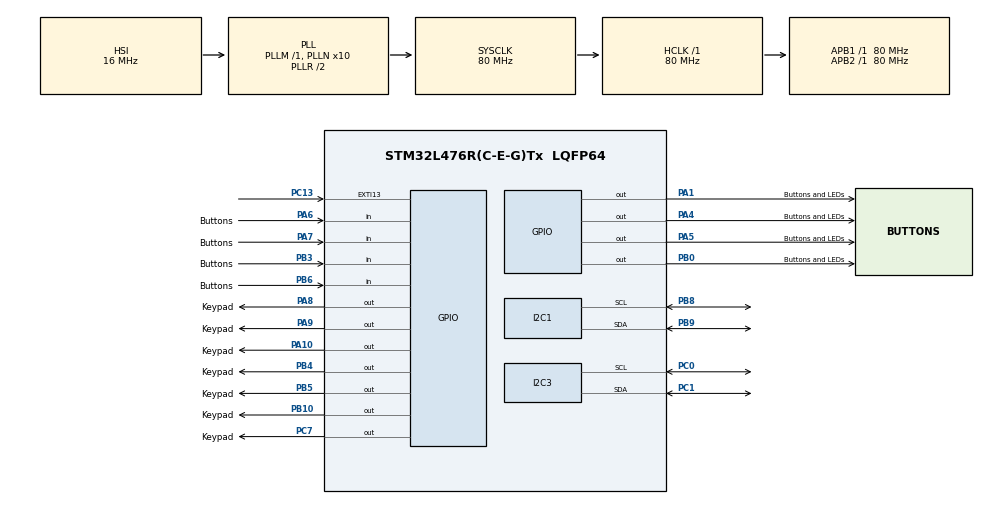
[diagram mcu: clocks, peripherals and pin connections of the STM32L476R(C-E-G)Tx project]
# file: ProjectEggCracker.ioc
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I2C1.Timing=0x10D19CE4
I2C3.Timing=0x10D19CE4
Mcu.Family=STM32L4
Mcu.Name=STM32L476R(C-E-G)Tx
Mcu.Package=LQFP64
NUCLEO-L476RG.BUTTON=1
NUCLEO-L476RG.LD2=true
NVIC.EXTI15_10_IRQn=true\:0\:0\:false\:false\:true\:false\:true\:true
NVIC.PriorityGroup=NVIC_PRIORITYGROUP_4
PA1.GPIO_Label=Buttons and LEDs
PA1.GPIO_ModeDefaultOutputPP=GPIO_MODE_OUTPUT_PP
PA1.GPIO_PuPd=GPIO_NOPULL
PA1.GPIO_Speed=GPIO_SPEED_FREQ_LOW
PA1.PinState=GPIO_PIN_RESET
PA1.Signal=GPIO_Output
PA10.GPIO_Label=Keypad
PA10.GPIO_ModeDefaultOutputPP=GPIO_MODE_OUTPUT_OD
PA10.GPIO_PuPd=GPIO_PULLUP
PA10.GPIO_Speed=GPIO_SPEED_FREQ_LOW
PA10.PinState=GPIO_PIN_SET
PA10.Signal=GPIO_Output
PA13\ (JTMS-SWDIO).GPIO_Label=TMS
PA13\ (JTMS-SWDIO).Mode=Serial_Wire
PA13\ (JTMS-SWDIO).Signal=SYS_JTMS-SWDIO
PA14\ (JTCK-SWCLK).GPIO_Label=TCK
PA14\ (JTCK-SWCLK).Mode=Serial_Wire
PA14\ (JTCK-SWCLK).Signal=SYS_JTCK-SWCLK
PA2.GPIO_Label=USART_TX
PA2.GPIO_Mode=GPIO_MODE_AF_PP
PA2.GPIO_PuPd=GPIO_NOPULL
PA2.GPIO_Speed=GPIO_SPEED_FREQ_VERY_HIGH
PA2.Signal=USART2_TX
PA3.GPIO_Label=USART_RX
PA3.GPIO_Mode=GPIO_MODE_AF_PP
PA3.GPIO_PuPd=GPIO_NOPULL
PA3.GPIO_Speed=GPIO_SPEED_FREQ_VERY_HIGH
PA3.Signal=USART2_RX
PA4.GPIO_Label=Buttons and LEDs
PA4.GPIO_ModeDefaultOutputPP=GPIO_MODE_OUTPUT_PP
PA4.GPIO_PuPd=GPIO_NOPULL
PA4.GPIO_Speed=GPIO_SPEED_FREQ_LOW
PA4.PinState=GPIO_PIN_RESET
PA4.Signal=GPIO_Output
PA5.GPIO_Label=Buttons and LEDs
PA5.GPIO_ModeDefaultOutputPP=GPIO_MODE_OUTPUT_PP
PA5.GPIO_PuPd=GPIO_NOPULL
PA5.GPIO_Speed=GPIO_SPEED_FREQ_LOW
PA5.PinState=GPIO_PIN_RESET
PA5.Signal=GPIO_Output
PA6.GPIO_Label=Buttons
PA6.GPIO_PuPd=GPIO_NOPULL
PA6.Signal=GPIO_Input
PA7.GPIO_Label=Buttons
PA7.GPIO_PuPd=GPIO_NOPULL
PA7.Signal=GPIO_Input
PA8.GPIO_Label=Keypad
PA8.GPIO_ModeDefaultOutputPP=GPIO_MODE_OUTPUT_OD
PA8.GPIO_PuPd=GPIO_PULLUP
PA8.GPIO_Speed=GPIO_SPEED_FREQ_LOW
PA8.PinState=GPIO_PIN_SET
PA8.Signal=GPIO_Output
PA9.GPIO_Label=Keypad
PA9.GPIO_ModeDefaultOutputPP=GPIO_MODE_OUTPUT_OD
PA9.GPIO_PuPd=GPIO_PULLUP
PA9.GPIO_Speed=GPIO_SPEED_FREQ_LOW
PA9.PinState=GPIO_PIN_SET
PA9.Signal=GPIO_Output
PB0.GPIO_Label=Buttons and LEDs
PB0.GPIO_ModeDefaultOutputPP=GPIO_MODE_OUTPUT_PP
PB0.GPIO_PuPd=GPIO_NOPULL
PB0.GPIO_Speed=GPIO_SPEED_FREQ_LOW
PB0.PinState=GPIO_PIN_RESET
PB0.Signal=GPIO_Output
PB10.GPIO_Label=Keypad
PB10.GPIO_ModeDefaultOutputPP=GPIO_MODE_OUTPUT_OD
PB10.GPIO_PuPd=GPIO_PULLUP
PB10.GPIO_Speed=GPIO_SPEED_FREQ_LOW
PB10.PinState=GPIO_PIN_SET
PB10.Signal=GPIO_Output
PB3\ (JTDO-TRACESWO).GPIO_Label=Buttons
PB3\ (JTDO-TRACESWO).GPIO_PuPd=GPIO_NOPULL
PB3\ (JTDO-TRACESWO).Signal=GPIO_Input
PB4\ (NJTRST).GPIO_Label=Keypad
PB4\ (NJTRST).GPIO_ModeDefaultOutputPP=GPIO_MODE_OUTPUT_OD
PB4\ (NJTRST).GPIO_PuPd=GPIO_PULLUP
PB4\ (NJTRST).GPIO_Speed=GPIO_SPEED_FREQ_LOW
PB4\ (NJTRST).PinState=GPIO_PIN_SET
PB4\ (NJTRST).Signal=GPIO_Output
PB5.GPIO_Label=Keypad
PB5.GPIO_ModeDefaultOutputPP=GPIO_MODE_OUTPUT_OD
PB5.GPIO_PuPd=GPIO_PULLUP
PB5.GPIO_Speed=GPIO_SPEED_FREQ_LOW
PB5.PinState=GPIO_PIN_SET
PB5.Signal=GPIO_Output
PB6.GPIO_Label=Buttons
PB6.GPIO_PuPd=GPIO_NOPULL
PB6.Signal=GPIO_Input
PB8.Mode=I2C
PB8.Signal=I2C1_SCL
PB9.Mode=I2C
PB9.Signal=I2C1_SDA
PC0.Mode=I2C
PC0.Signal=I2C3_SCL
PC1.Mode=I2C
PC1.Signal=I2C3_SDA
PC13.Signal=GPXTI13
PC14-OSC32_IN\ (PC14).Signal=RCC_OSC32_IN
PC15-OSC32_OUT\ (PC15).Signal=RCC_OSC32_OUT
PC7.GPIO_Label=Keypad
PC7.GPIO_ModeDefaultOutputPP=GPIO_MODE_OUTPUT_OD
PC7.GPIO_PuPd=GPIO_PULLUP
PC7.GPIO_Speed=GPIO_SPEED_FREQ_LOW
PC7.PinState=GPIO_PIN_SET
PC7.Signal=GPIO_Output
PH0-OSC_IN\ (PH0).Signal=RCC_OSC_IN
PH1-OSC_OUT\ (PH1).Signal=RCC_OSC_OUT
ProjectManager.HeapSize=0x200
ProjectManager.StackSize=0x400
ProjectManager.TargetToolchain=STM32CubeIDE
RCC.ADCFreq_Value=64000000
RCC.AHBFreq_Value=80000000
RCC.APB1Freq_Value=80000000
RCC.APB1TimFreq_Value=80000000
RCC.APB2Freq_Value=80000000
RCC.APB2TimFreq_Value=80000000
RCC.CortexFreq_Value=80000000
RCC.HCLKFreq_Value=80000000
RCC.HSE_VALUE=8000000
RCC.HSI_VALUE=16000000
RCC.LSE_VALUE=32768
RCC.MSI_VALUE=4000000
RCC.PLLN=10
RCC.PLLSourceVirtual=RCC_PLLSOURCE_HSI
RCC.PREFETCH_ENABLE=1
RCC.SYSCLKFreq_VALUE=80000000
RCC.SYSCLKSource=RCC_SYSCLKSOURCE_PLLCLK
RCC.USBFreq_Value=64000000
RCC.VCOOutputFreq_Value=160000000
VP_NUCLEO-L476RG_VS_BSP_COMMON.Mode=COMMON
board=NUCLEO-L476RG

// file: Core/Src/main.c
/* USER CODE BEGIN Header */
/**
  ******************************************************************************
  * @file           : main.c
  * @brief          : Main program body
  ******************************************************************************
  * @attention
  *
  * Copyright (c) 2026 STMicroelectronics.
  * All rights reserved.
  *
  * This software is licensed under terms that can be found in the LICENSE file
  * in the root directory of this software component.
  * If no LICENSE file comes with this software, it is provided AS-IS.
  *
  ******************************************************************************
  */
/* USER CODE END Header */
#include "main.h"
#include "i2c.h"
#include "gpio.h"

/* USER CODE BEGIN Includes */
#include "LCD1602_I2C.h"
#include "oximeter.h"
#include "keypad.h"
#include "panel.h"
#include <stdio.h>
#include <string.h>
/* USER CODE END Includes */

/* USER CODE BEGIN PD */
/* ---- Sampling and stability parameters; tune them here only ---- */
#define POLL_MS 	 250u /* Polling period. The module refreshes its
 	 	 	 	 	 	   * data every 4 s, so reading faster just
 	 	 	 	 	 	   * re-reads the same value - harmless, and it
 	 	 	 	 	 	   * notices a finger within 0.25 s */
#define HIST_N 			5 /* history length used for the stability test */
#define HR_SPREAD_MAX  12 /* spread over 5 readings above which the
 	 	 	 	 	 	   * value is considered not settled yet (bpm) */
#define LOST_GRACE 	   12 /* invalid ticks before the finger counts as
 	 	 	 	 	       * removed (250 ms x 12 = 3 s) */

/* ---- Power-on PIN ---- */
#define PASSWORD   "1234" /* change the PIN on this line only */
#define PIN_LEN 		4 /* must match the length of PASSWORD */
#define PIN_SCAN_MS 	8u /* keypad polling; debouncing lives in keypad.c */
#define PIN_WRONG_HOLD 1500u /* how long the "wrong PIN" message stays */
/* USER CODE END PD */

void SystemClock_Config(void);

/* USER CODE BEGIN 0 */
/* Pad a line out to 16 characters.
 * The LCD never clears itself: after "HR 100" a shorter "HR 72" would leave
 * the stray 0 on screen. Padding beats calling lcd_clear() every time, which
 * produces a visible flicker. */
static void pad16(char *s) {
	size_t n = strlen(s);
	while (n < 16u) {
		s[n++] = ' ';
	}
	s[16] = '\0';
}
/* ==========================================================================
 * Stability filtering
 *
 * A single reading cannot be trusted. Just after a finger is placed, or with
 * the wrong contact pressure, or on a weak signal, the module's algorithm
 * counts the dicrotic notch of the pulse waveform as a second beat and
 * reports exactly twice the true rate - 70 shows up as 140. This is the
 * classic PPG doubling artefact.
 *
 * A range check cannot catch it: 140 is perfectly physiological. What does
 * catch it is agreement between consecutive readings - the artefact comes
 * and goes, while a real heart rate settles into a narrow band.
 * ========================================================================== */
typedef struct {
	int32_t buf[HIST_N];
	uint8_t cnt; /* how many samples are filled in */
	uint8_t idx; /* ring buffer write index */
} Hist;
static Hist s_hr_hist;
static int32_t s_hr_shown = -1; /* heart rate on display, -1 = none yet */
static int32_t s_spo2_shown = -1; /* likewise for SpO2 */
static uint16_t s_lost = 0; /* consecutive invalid readings */
static void hist_reset(Hist *h) {
	h->cnt = 0;
	h->idx = 0;
}
static void hist_push(Hist *h, int32_t v) {
	h->buf[h->idx] = v;
	h->idx = (uint8_t) ((h->idx + 1u) % HIST_N);
	if (h->cnt < HIST_N) {
		h->cnt++;
	}
}
/* Full history and spread within the limit -> return the median,
 * otherwise -1 meaning "not settled yet". */
static int32_t hist_stable(const Hist *h, int32_t spread_max) {
	int32_t t[HIST_N];
	uint8_t i, j;
	if (h->cnt < HIST_N) {
		return -1;
	}
	for (i = 0; i < HIST_N; i++) {
		t[i] = h->buf[i];
	}
	for (i = 1; i < HIST_N; i++) { /* insertion sort, N=5 */
		int32_t k = t[i];
		j = i;
		while (j > 0u && t[j - 1] > k) {
			t[j] = t[j - 1];
			j--;
		}
		t[j] = k;
	}
	if ((t[HIST_N - 1] - t[0]) > spread_max) {
		return -1;
	}
	return t[HIST_N / 2]; /* median */
}
/* Display state. Three of them, not two:
 * ST_NO_FINGER nothing readable -> ask for a finger
 * ST_MEASURING data but unsettled -> ask the user to hold still; this is
 * where a 140 artefact gets held back
 * ST_SHOW settled -> show the numbers
 */
typedef enum {
	ST_NO_FINGER, ST_MEASURING, ST_SHOW
} DispState;
static DispState hr_step(int32_t raw_hr, int32_t raw_spo2) {
	if (raw_hr <= 0) {
		s_lost++;
		if (s_lost > LOST_GRACE) { /* the finger really is gone */
			hist_reset(&s_hr_hist);
			s_hr_shown = -1;
			s_spo2_shown = -1;
			return ST_NO_FINGER;
		}
		/* Inside the grace period keep the previous reading on screen so
		 * the display does not flip back and forth. */
		if (s_hr_shown > 0) {
			return ST_SHOW;
		}
		if (s_hr_hist.cnt > 0) {
			return ST_MEASURING;
		}
		return ST_NO_FINGER; /* never read anything at all */
	}
	s_lost = 0;
	hist_push(&s_hr_hist, raw_hr);
	{
		int32_t v = hist_stable(&s_hr_hist, HR_SPREAD_MAX);
		if (v > 0) {
			s_hr_shown = v;
			if (raw_spo2 > 0) {
				s_spo2_shown = raw_spo2;
			}
			return ST_SHOW;
		}
	}
	if (s_hr_shown > 0) {
		return ST_SHOW;
	} /* settled already, one bad tick */
	return ST_MEASURING;
}
/* Lay out the two display lines, each exactly 16 characters */
static void build_lines(DispState st, uint8_t comm_ok, float temp, uint8_t spin,
		char *l1, char *l2) {
	static const char *dots[4] = { " ", ". ", ".. ", "..." };
	if (!comm_ok) {
		strcpy(l1, "Sensor offline");
		strcpy(l2, "Check wiring");
	} else if (st == ST_NO_FINGER) {
		snprintf(l1, 17, "Place finger%s", dots[spin & 3u]);
		snprintf(l2, 17, "Board %4.1f degC", (double) temp);
	} else if (st == ST_MEASURING) {
		snprintf(l1, 17, "Measuring%s", dots[spin & 3u]);
		strcpy(l2, "Hold still");
	} else {
		/* SP/HR OUTPUTS BE HERE */
		int sp =
				(s_spo2_shown > 0 && s_spo2_shown <= 100) ?
						(int) s_spo2_shown : 0;
		int hr = (s_hr_shown > 0 && s_hr_shown <= 999) ? (int) s_hr_shown : 0;
		snprintf(l1, 17, "SpO2%3d%% HR%3d", sp, hr);
		snprintf(l2, 17, "Temp %4.1f degC", (double) temp);
	}
	pad16(l1);
	pad16(l2);
}

/*~~~~~~~~~~~~~~~~~~~~~~~~~~~~~~~~~~~~~~~~~~~~~~~~~~~~~~~~~~~~~~~~~~~~~~~~~~~~~~~~~~~~~
~~~~~~~~~~~~~~~~~~~~~~~~~~~~~~~~~~~~~~~~~~~~~~~~~~~~~~~~~~~~~~~~~~~~~~~~~~~~~~~~~~~~~~~*/
// ENUM ZONE ENUM ZONE ENUM ZONE ENUM ZONE //
/* App display modes enum, real*/
typedef enum {
		//APP_WAIT_START,
		APP_NO_FINGER_WARNING,
		APP_MONITORING,
		APP_ALERT,
		APP_MENU,
		APP_STAT,
		APP_PATIENT_INFO,
		APP_ADDRESS,
		APP_CPR
	} AppState;

/* Event flag enum*/
typedef enum {
	    EVENT_NONE = 0u,
	    EVENT_IRREGULAR = 1u << 0u,
		EVENT_MANUAL = 1u << 1u
	} EventFlags;

/* CPR phase enum*/
typedef enum {
	CPR_COMPRESS,
	CPR_RELAX,
	CPR_BREATHE,
} CPRPhase;

// VARIABLE ZONE VARIABLE ZONE VARIABLE ZONE VARIABLE ZONE //
static uint32_t cpr_phase_start_ms = 0;
static CPRPhase cpr_phase = CPR_COMPRESS;
static uint8_t cpr_screen_index = 0;
static uint32_t cpr_screen_switch_ms = 0;
static uint8_t cpr_breath_screen_active = 0;
static uint8_t cpr_compressions_since_breath = 0u;

static const char *cpr_screen_text[6] = {
	"COMPRESS IN TIME"
	"WITH LIGHTS",
	"CALL 000 IF CPR",
	"NEEDED",
	"PRESS # TO GO",
	"BACK"
};
static const char cpr_breath_screen_text1[17] = "BREATHE 2 RESCUE";
static const char cpr_breath_screen_text2[17] = "BREATHS         ";
static const char monitor_line_1[17] = "All Clear       ";
static const char monitor_line_2[17] = "System Idle...  ";
static const char warning_line_1[17] = "No Finger Found ";
static const char warning_line_2[17] = "Place on Finger ";
static const char menu_line_1[17] = "1.STAT 2.P.INFO ";
static const char menu_line_2[17] = "3.ADDR 4.CPR    ";
static const char patient_name[17] = "Stanley Leichter";
static const char patient_age[17] = "         AGE: 68";
static const char address_line_1[17] = "Bldg 420, 3 Kent";
static const char address_line_2[17] = "St, Bentley     "
static uint32_t time_at_last_readms = 0;
static const uint32_t OXIMETER_POLL_DELAYms = 10;
static char prev1[17] = "                ";
static char prev2[17] = "                ";
static const char alert_line_1[17] = "EMERGENCY! ENTER";
static const char alert_line_2[17] = "AND ASSIST!     ";
static uint8_t stat_message_index = 0;
static const char stat_manual[17] = "MANUAL ACTIVATED";
static const char stat_heart[17] = "PULSE UNUSUAL   ";

/*~~~~~~~~~~~~~~~~~~~~~~~~~~~~~~~~~~~~~~~~~~~~~~~~~~~~~~~~~~~~~~~~~~~~~~~~~~~~~~~~~~~~~
~~~~~~~~~~~~~~~~~~~~~~~~~~~~~~~~~~~~~~~~~~~~~~~~~~~~~~~~~~~~~~~~~~~~~~~~~~~~~~~~~~~~~~~*/

/* ==========================================================================
 * Power-on PIN
 *
 * Blocking by design: nothing proceeds until the PIN is accepted, so a plain
 * loop is enough and no state machine is needed. It runs once per power-up;
 * after that the main loop never touches the keypad again.
 * ========================================================================== */

/*~~~~~~~~~~~~~~~~~~~~~~~~~~~~~~~~~~~~~~~~~~~~~~~~~~~~~~~~~~~~~~~~~~~~~~~~~~~~~~~~~~~~~
~~~~~~~~~~~~~~~~~~~~~~~~~~~~~~~~~~~~~~~~~~~~~~~~~~~~~~~~~~~~~~~~~~~~~~~~~~~~~~~~~~~~~~~*/
// THE FUNCTIONS FUNCTION THE FUNCTIONS FUNCTION //
static void wait_for_start(void) {
	for (;;) {
		char key = Keypad_Scan();
		if (key == '1') {
		return;
		}

		HAL_Delay(PIN_SCAN_MS);
	}
}

static bool time_to_read_oximeter(uint32_t now_time) {
	if (now_time - time_at_last_readms == OXIMETER_POLL_DELAYms) {
		time_at_last_readms = now_time;
		return true;
	}
	else {
		return false;
	}
}

static bool accident_detected(OxiReading reading) {
	if (reading.heartbeat > 100 || reading.heartbeat < 55) {
		event_flags |= EVENT_IRREGULAR;
	}
	return (event_flags != EVENT_NONE);
}

static void clear_event_codes(void) {
	event_flags = EVENT_NONE;
}

static void cpr_leds(uint8_t on) {
	Panel_SetLed(2, on);
	Panel_SetLed(3, on);
}

static void stat_builder(char *l1) {
	int sp02 = (s_spo2_show > 0 && s_spo2_shown <= 100) ?
				(int) s_spo2_shown : 0;
	int hr = (s_hr_shown > 0 && s_hr_shown <= 999) ? (int) s_hr_shown : 0;
	snprintf(l1, 17, "SpO2%3d%% HR%3d", sp02, hr);
	pad16(l1);
}
/*~~~~~~~~~~~~~~~~~~~~~~~~~~~~~~~~~~~~~~~~~~~~~~~~~~~~~~~~~~~~~~~~~~~~~~~~~~~~~~~~~~~~~
~~~~~~~~~~~~~~~~~~~~~~~~~~~~~~~~~~~~~~~~~~~~~~~~~~~~~~~~~~~~~~~~~~~~~~~~~~~~~~~~~~~~~~~*/

/*~~~~~~~~~~~~~~~~~~~~~~~~~~~~~~~~~~~~~~~~~~~~~~~~~~~~~~~~~~~~~~~~~~~~~~~~~~~~~~~~~~~~~
~~~~~~~~~~~~~~~~~~~~~~~~~~~~~~~~~~~~~~~~~~~~~~~~~~~~~~~~~~~~~~~~~~~~~~~~~~~~~~~~~~~~~~~*/
/* Functions for menu states, each shows information relating
* to the patient to help with their care such as their address
* their current heart rate and SpO2 and so on */
// SHOW ZONE SHOW ZONE SHOW ZONE SHOW ZONE SHOW ZONE //

static void printer_l1(char[16] fresh_line) {
	if (strncmp(prev1, fresh_line, 16) != 0) {
		lcd_put_cur(0, 0);
		lcd_send_string(fresh_line);
		strncpy(prev1, fresh_line, sizeof(prev1));
	}
}

static void printer_l2(char fresh_line) {
	if (strncmp(prev2, fresh_line, 16) != 0) {
		lcd_put_cur(1, 0);
		lcd_send_string(fresh_line);
		strncpy(prev2, fresh_line, sizeof(prev2));
	}
}

static void show_monitor(void) {
	// show monitor code
	printer_l1(monitor_line_1);
	printer_l2(monitor_line_2);

}

static void show_alert(void) {
	// show alert screen code
	printer_l1(alert_line_1);
	printer_l2(alert_line_2);
}

static void show_no_finger_warning(void) {
	// show no finger warning code
	printer_l1(warning_line_1);
	printer_l2(warning_line_2);
}

static void show_menu(void) {
	// show menu code
	printer_l1(menu_line_1);
	printer_l2(menu_line_2);
}

static void show_stat(char *line2, char *line2) {
	// show stat code
	stat_builder(line1);
	printer_l1(line1);
	printer_l2(line2);
}

static void show_patient_info(void) {
	// show patient info code
	printer_l1(patient_name); //Goddamn loser
	printer_l2(patient_age);
}

static void show_address(void) {
	// show address code
	// attempting to code it better
	// for loop logic worked in an external editor
	printer_l1(address_line_1);
	printer_l2(address_line_2);
}

static void show_cpr(void) {
	// show cpr code
	// Needs to change screen and flash LEDs
	// jagged array containing all three screens of text for the cpr mode
	uint32_t now_time = HAL_GetTick();

	if (cpr_breath_screen_active) {
		lcd_clear();
		lcd_put_cur(0, 0);
		lcd_send_string(cpr_breath_screen_text1);
		lcd_put_cur(1, 0);
		lcd_send_string(cpr_breath_screen_text2);
		return;
	}

	if (HAL_GetTick() - cpr_screen_switch_ms >= 4000u) {
		cpr_screen_switch_ms = HAL_GetTick();
		cpr_screen_index = (cpr_screen_index + 2u) % 6u;
	}
	// char cpr_line_1[17];
	// char cpr_line_2[17];
	// //set the lines to be printed to the lcd
	// for(int j = 0; j<16; j++){
	// 	cpr_line_1[j]=cpr_screen_text[cpr_screen_index][j];
	// 	cpr_line_2[j]=cpr_screen_text[cpr_screen_index+1][j+16];
	// }
	lcd_clear();
	lcd_put_cur(0, 0);
	lcd_send_string(cpr_screen_text[cpr_screen_index]);
	lcd_put_cur(1, 0);
	lcd_send_string(cpr_screen_text[cpr_screen_index+1]);
}
/*~~~~~~~~~~~~~~~~~~~~~~~~~~~~~~~~~~~~~~~~~~~~~~~~~~~~~~~~~~~~~~~~~~~~~~~~~~~~~~~~~~~~~
~~~~~~~~~~~~~~~~~~~~~~~~~~~~~~~~~~~~~~~~~~~~~~~~~~~~~~~~~~~~~~~~~~~~~~~~~~~~~~~~~~~~~~~*/

/* USER CODE END 0 */

int main(void)
{

  /* MCU Configuration--------------------------------------------------------*/

  /* Reset of all peripherals, Initializes the Flash interface and the Systick. */
  HAL_Init();

  /* Configure the system clock */
  SystemClock_Config();

  /* Initialize all configured peripherals */
  MX_GPIO_Init();
  MX_I2C1_Init();
  MX_I2C3_Init();
  /* USER CODE BEGIN 2 */
	/* --- LCD on I2C1 --- */
	lcd_init(&hi2c1);
	lcd_put_cur(0, 0);
	lcd_send_string("BOOT SYSTEM?    ");
	lcd_put_cur(1, 0);
	lcd_send_string("1. YES          ");
	/* --- Keypad: the PIN gate comes first ---
	 * Placed before the sensor is started, so nothing is acquired until the
	 * PIN is accepted and the sensor LEDs stay dark while unauthorised. */
	Keypad_Init();
	Panel_Init(); /* all four LEDs off; buttons live from power-up */
	/* Initial state of the four LEDs at power-up. Change a 0 to a 1 to have
	 * that LED lit from the start; Panel_SetLed(0, 1) lights LED0 so the first
	 * press of BUTTON0 turns it off.
	 * Always go through Panel_SetLed() rather than the CubeMX initial level: it
	 * updates both the pin and the internal s_leds bit, and once those two
	 * disagree the first press toggles the wrong way. */
	Panel_SetLed(0, 0);
	Panel_SetLed(1, 0);
	Panel_SetLed(2, 0);
	Panel_SetLed(3, 0);
	wait_for_start();
	lcd_put_cur(0, 0);
	lcd_send_string("BOOTING...      ");
	lcd_put_cur(1, 0);
	lcd_send_string("                ");
	HAL_Delay(1000);
	lcd_put_cur(0, 0);
	lcd_send_string("SYSTEM IDLE     ");
	lcd_put_cur(1, 0);
	lcd_send_string("ALL CLEAR       ");
	show_monitor();
	HAL_Delay(4000);

	/* --- Heart rate sensor on I2C3 --- */
	{
		uint8_t addr = Oxi_ScanBus(&hi2c3); /* break here; expect 0xAE */
		(void) addr;
	}
	Oxi_Start(&hi2c3); /* the module only measures after this command */
	hist_reset(&s_hr_hist);
	HAL_Delay(1000);
	AppState app_state = APP_MONITORING;
  /* USER CODE END 2 */

  /* Initialize leds */
  BSP_LED_Init(LED_GREEN);

  /* Initialize USER push-button, will be used to trigger an interrupt each time it's pressed.*/
  BSP_PB_Init(BUTTON_USER, BUTTON_MODE_EXTI);

  /* Infinite loop */
  /* USER CODE BEGIN WHILE */
//   OxiReading rd;    //Don't think we need this
  char statline1[17] = "";
//   char prev1[17] = "", prev2[17] = "";

 while (1)
 {

   /* USER CODE END WHILE */

   /* USER CODE BEGIN 3 */
	char key = Keypad_Scan();
	Panel_Task();

	if ((HAL_GPIO_ReadPin(BTN_PORT[0], BTN_MASK[0]) == GPIO_PIN_RESET) && app_state == APP_MONITORING) {
		event_flags |= EVENT_MANUAL;
	}

// MAIN CASE MAIN CASE MAIN CASE MAIN CASE //
	switch (app_state) {

	case APP_MONITORING:
		// Handle monitoring state
		uint32_t now_time = HAL_GetTick()
		if (event_flags != EVENT_NONE) {
			app_state = APP_MENU;
			show_alert();
			break;
		}
		if (time_to_read_oximeter()) {
			OxiReading reading;

			if (Oxi_Read(&reading) == HAL_OK) {
				accident_detected(reading);

				// Handle read error
			}
			else {
				app_state = APP_NO_FINGER_WARNING;
			}
		}
		show_monitor();
		break;

	case APP_NO_FINGER_WARNING:
		// Handle no finger warning state

		show_no_finger_warning();
		AppsState = APP_MONITORING;
		break;

		case APP_ALERT:
		// Handle alert state
		update_alert_display();
		update_alert_leds();
		handle_alert_key(key);
		break;

	case APP_MENU:
		// Handle menu state
		if (Keypad_Scan() == "1") app_state = APP_STAT;
		else if (Keypad_Scan() == "2") app_state = APP_PATIENT_INFO;
		else if (Keypad_Scan() == "3") app_state = APP_ADDRESS;
		else if (Keypad_Scan() == "4") app_state = APP_CPR;
		else {
			show_menu();
		}
		break;

	case APP_STAT:
		// Handle stat state
		if (Keypad_Scan() == '#') {
			app_state = APP_MENU;
		}

		const char statline2[16];
		if ((event_flags & EVENT_MANUAL) != 0u) statline2 = stat_manual;
		else if ((event_flags & EVENT_IRREGULAR) != 0u) statline2 = stat_heart;
		if (time_to_read_oximeter()) {
			OxiReading reading;
			if (Oxi_Read(&reading) == HAL_OK) {

				show_stat(statline2);
			}
			else {
				show_no_finger_warning();
			}
		}
		break;

	case APP_PATIENT_INFO:
		// Handle patient info state
		if (Keypad_Scan() == '#') {
			app_state = APP_MENU;
		}
		else {
			show_patient_info();
		}
		break;

	case APP_ADDRESS:
		// Handle address state
		if (Keypad_Scan() == '#') {
			app_state = APP_MENU;
		}
		else {
			show_address();
		}
		break;

	case APP_CPR:
		// Handle CPR state
		uint32_t now_time = HAL_GetTick();

		if (Keypad_Scan() == '#') {
			app_state = APP_MENU;
			break;
		}
		switch (cpr_phase) {
			case CPR_COMPRESS:
				if (now_time - cpr_phase_start_ms >= 450u) {
					cpr_leds(0);
					cpr_phase = CPR_RELAX;
					cpr_phase_start_ms = now_time;
					cpr_compressions_since_breath++;
					if (cpr_compressions_since_breath >= 5u) {
						cpr_phase = CPR_BREATH;
						cpr_phase_start_ms = now_time;
						cpr_breath_screen_active = 1u;
						cpr_compressions_since_breath = 0u;
					}
				}
				else {
					cpr_leds(1);
				}
				break;

			case CPR_RELAX:
				if (now_time - cpr_phase_start_ms >= 150u) {
					cpr_phase = CPR_COMPRESS;
					cpr_phase_start_ms = now_time;
				}
				else {
					cpr_leds(0);
				}
				break;

			case CPR_BREATHE:
				if (now_time - cpr_phase_start_ms >= 2500u) {
					cpr_phase = CPR_COMPRESS;
					cpr_phase_start_ms = now_time;
					cpr_breath_screen_active = 0u;
					cpr_screen_switch_ms = now_time;
				}
				else {
					cpr_set_leds(1);
				}
				break;
		}
		show_cpr();
		break;
	}

//  /* USER CODE END 3 */
	}
}

void SystemClock_Config(void)
{
  RCC_OscInitTypeDef RCC_OscInitStruct = {0};
  RCC_ClkInitTypeDef RCC_ClkInitStruct = {0};

  /** Configure the main internal regulator output voltage
  */
  if (HAL_PWREx_ControlVoltageScaling(PWR_REGULATOR_VOLTAGE_SCALE1) != HAL_OK)
  {
    Error_Handler();
  }

  /** Initializes the RCC Oscillators according to the specified parameters
  * in the RCC_OscInitTypeDef structure.
  */
  RCC_OscInitStruct.OscillatorType = RCC_OSCILLATORTYPE_HSI;
  RCC_OscInitStruct.HSIState = RCC_HSI_ON;
  RCC_OscInitStruct.HSICalibrationValue = RCC_HSICALIBRATION_DEFAULT;
  RCC_OscInitStruct.PLL.PLLState = RCC_PLL_ON;
  RCC_OscInitStruct.PLL.PLLSource = RCC_PLLSOURCE_HSI;
  RCC_OscInitStruct.PLL.PLLM = 1;
  RCC_OscInitStruct.PLL.PLLN = 10;
  RCC_OscInitStruct.PLL.PLLP = RCC_PLLP_DIV7;
  RCC_OscInitStruct.PLL.PLLQ = RCC_PLLQ_DIV2;
  RCC_OscInitStruct.PLL.PLLR = RCC_PLLR_DIV2;
  if (HAL_RCC_OscConfig(&RCC_OscInitStruct) != HAL_OK)
  {
    Error_Handler();
  }

  /** Initializes the CPU, AHB and APB buses clocks
  */
  RCC_ClkInitStruct.ClockType = RCC_CLOCKTYPE_HCLK|RCC_CLOCKTYPE_SYSCLK
                              |RCC_CLOCKTYPE_PCLK1|RCC_CLOCKTYPE_PCLK2;
  RCC_ClkInitStruct.SYSCLKSource = RCC_SYSCLKSOURCE_PLLCLK;
  RCC_ClkInitStruct.AHBCLKDivider = RCC_SYSCLK_DIV1;
  RCC_ClkInitStruct.APB1CLKDivider = RCC_HCLK_DIV1;
  RCC_ClkInitStruct.APB2CLKDivider = RCC_HCLK_DIV1;

  if (HAL_RCC_ClockConfig(&RCC_ClkInitStruct, FLASH_LATENCY_4) != HAL_OK)
  {
    Error_Handler();
  }
}

void Error_Handler(void)
{
  __disable_irq();
  while (1)
  {
  }
}
